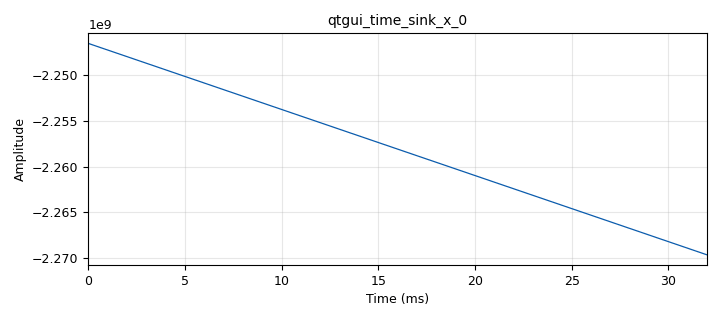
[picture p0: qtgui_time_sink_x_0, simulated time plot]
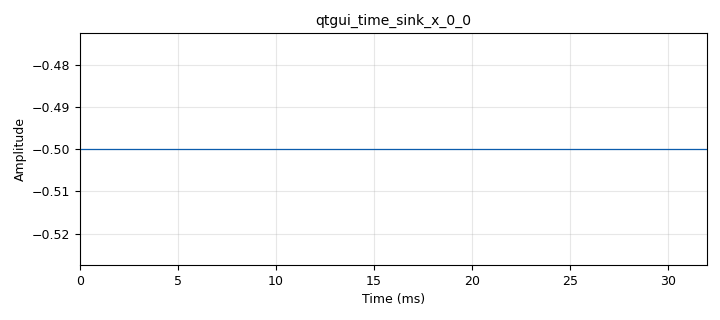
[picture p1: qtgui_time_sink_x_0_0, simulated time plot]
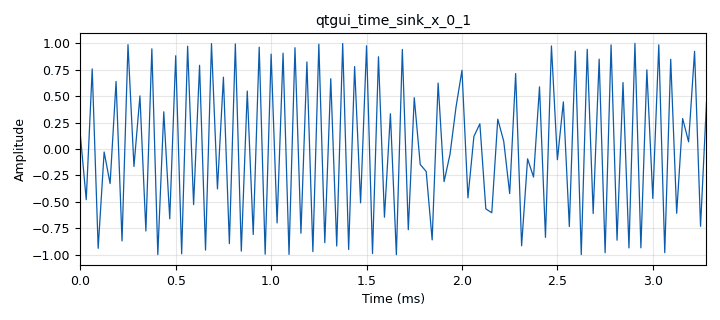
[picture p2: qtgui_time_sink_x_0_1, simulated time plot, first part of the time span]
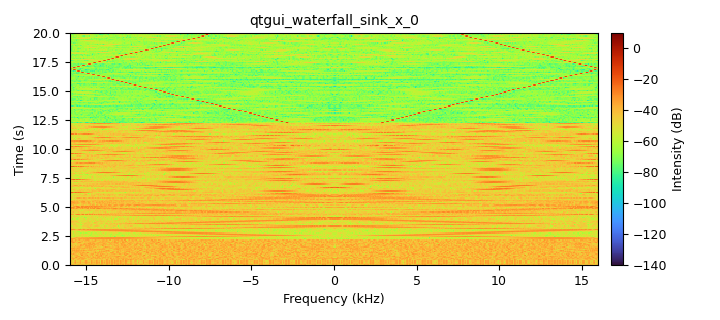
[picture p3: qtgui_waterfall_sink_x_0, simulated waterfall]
<?xml version='1.0' encoding='utf-8'?>
<?grc format='1' created='3.7.11'?>
<flow_graph>
<block>
<key>options</key>
<param><key>id</key><value>top_block</value></param>
<param><key>generate_options</key><value>qt_gui</value></param>
</block>
<block>
<key>variable</key>
<param><key>id</key><value>samp_rate</value></param>
<param><key>value</key><value>32000</value></param>
</block>
<block>
<key>analog_sig_source_x</key>
<param><key>id</key><value>analog_sig_source_x_0</value></param>
<param><key>amp</key><value>0.1</value></param>
<param><key>comment</key><value>This is just the phase</value></param>
<param><key>freq</key><value>1</value></param>
<param><key>offset</key><value>-0.5</value></param>
<param><key>type</key><value>float</value></param>
<param><key>samp_rate</key><value>samp_rate</value></param>
<param><key>waveform</key><value>analog.GR_SQR_WAVE</value></param>
</block>
<block>
<key>blocks_throttle</key>
<param><key>id</key><value>blocks_throttle_0</value></param>
<param><key>samples_per_second</key><value>samp_rate</value></param>
<param><key>type</key><value>float</value></param>
</block>
<block>
<key>blocks_transcendental</key>
<param><key>id</key><value>blocks_transcendental_0</value></param>
<param><key>name</key><value>sin</value></param>
<param><key>type</key><value>float</value></param>
</block>
<block>
<key>iir_filter_xxx</key>
<param><key>id</key><value>iir_filter_xxx_0</value></param>
<param><key>fftaps</key><value>0.5</value></param>
<param><key>fbtaps</key><value>[1, -1]</value></param>
<param><key>oldstyle</key><value>False</value></param>
<param><key>type</key><value>ffd</value></param>
</block>
<block>
<key>iir_filter_xxx</key>
<param><key>id</key><value>iir_filter_xxx_0_0</value></param>
<param><key>fftaps</key><value>0.5</value></param>
<param><key>fbtaps</key><value>[1, -1]</value></param>
<param><key>oldstyle</key><value>False</value></param>
<param><key>type</key><value>ffd</value></param>
</block>
<block>
<key>qtgui_time_sink_x</key>
<param><key>id</key><value>qtgui_time_sink_x_0</value></param>
<param><key>autoscale</key><value>True</value></param>
<param><key>color1</key><value>"blue"</value></param>
<param><key>label1</key><value></value></param>
<param><key>size</key><value>1024</value></param>
<param><key>srate</key><value>samp_rate</value></param>
<param><key>type</key><value>float</value></param>
</block>
<block>
<key>qtgui_time_sink_x</key>
<param><key>id</key><value>qtgui_time_sink_x_0_0</value></param>
<param><key>autoscale</key><value>True</value></param>
<param><key>color1</key><value>"blue"</value></param>
<param><key>label1</key><value></value></param>
<param><key>size</key><value>1024</value></param>
<param><key>srate</key><value>samp_rate</value></param>
<param><key>type</key><value>float</value></param>
</block>
<block>
<key>qtgui_time_sink_x</key>
<param><key>id</key><value>qtgui_time_sink_x_0_1</value></param>
<param><key>autoscale</key><value>True</value></param>
<param><key>color1</key><value>"blue"</value></param>
<param><key>label1</key><value></value></param>
<param><key>size</key><value>1024</value></param>
<param><key>srate</key><value>samp_rate</value></param>
<param><key>type</key><value>float</value></param>
</block>
<block>
<key>qtgui_waterfall_sink_x</key>
<param><key>id</key><value>qtgui_waterfall_sink_x_0</value></param>
<param><key>bw</key><value>samp_rate</value></param>
<param><key>fc</key><value>0</value></param>
<param><key>fftsize</key><value>1024</value></param>
<param><key>showports</key><value>True</value></param>
<param><key>type</key><value>float</value></param>
<param><key>wintype</key><value>firdes.WIN_BLACKMAN_hARRIS</value></param>
</block>
<connection><source_block_id>analog_sig_source_x_0</source_block_id><sink_block_id>iir_filter_xxx_0</sink_block_id><source_key>0</source_key><sink_key>0</sink_key></connection>
<connection><source_block_id>analog_sig_source_x_0</source_block_id><sink_block_id>qtgui_time_sink_x_0_0</sink_block_id><source_key>0</source_key><sink_key>0</sink_key></connection>
<connection><source_block_id>blocks_throttle_0</source_block_id><sink_block_id>iir_filter_xxx_0_0</sink_block_id><source_key>0</source_key><sink_key>0</sink_key></connection>
<connection><source_block_id>blocks_transcendental_0</source_block_id><sink_block_id>qtgui_time_sink_x_0_1</sink_block_id><source_key>0</source_key><sink_key>0</sink_key></connection>
<connection><source_block_id>blocks_transcendental_0</source_block_id><sink_block_id>qtgui_waterfall_sink_x_0</sink_block_id><source_key>0</source_key><sink_key>0</sink_key></connection>
<connection><source_block_id>iir_filter_xxx_0</source_block_id><sink_block_id>blocks_throttle_0</sink_block_id><source_key>0</source_key><sink_key>0</sink_key></connection>
<connection><source_block_id>iir_filter_xxx_0_0</source_block_id><sink_block_id>blocks_transcendental_0</sink_block_id><source_key>0</source_key><sink_key>0</sink_key></connection>
<connection><source_block_id>iir_filter_xxx_0_0</source_block_id><sink_block_id>qtgui_time_sink_x_0</sink_block_id><source_key>0</source_key><sink_key>0</sink_key></connection>
</flow_graph>
